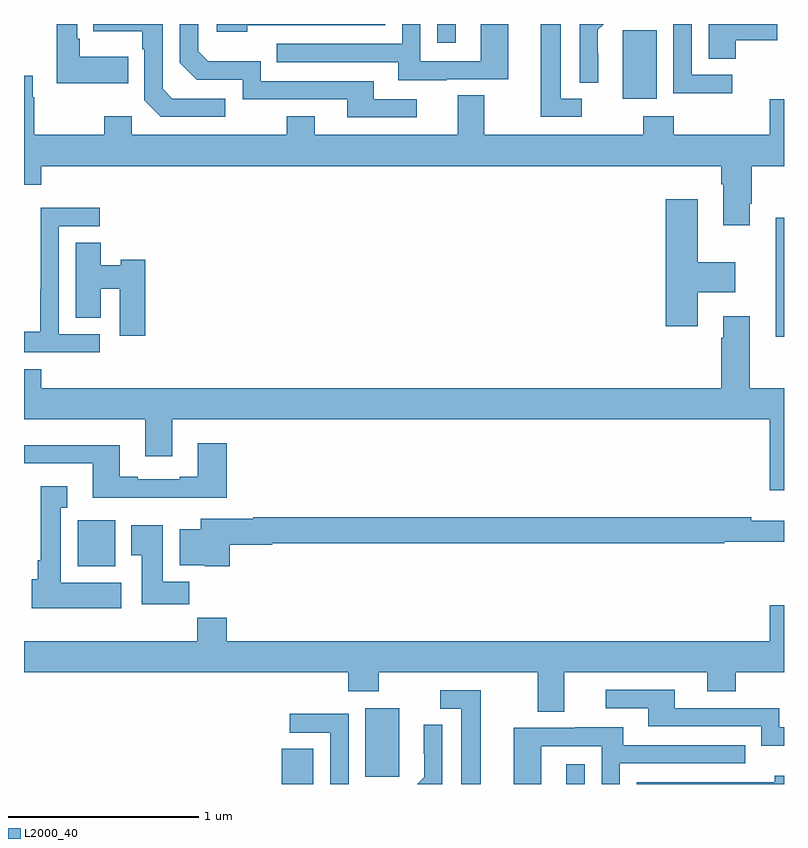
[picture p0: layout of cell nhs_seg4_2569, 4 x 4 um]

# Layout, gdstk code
import gdstk
lib = gdstk.Library(unit=1e-6, precision=1e-09)
def R(c, l, rs):  # rectangles x0, y0, x1, y1
    for r in rs: c.add(gdstk.rectangle(r[:2], r[2:], *l))
def P(c, l, *ps):  # polygons
    for p in ps: c.add(gdstk.Polygon(p, *l))
L2000_40 = (2000, 40)

nhs_seg4_2569 = lib.new_cell('nhs_seg4_2569')
R(nhs_seg4_2569, L2000_40, [(246.356,794.9,246.523,795.086), (247.853,794.9,247.95,795.004), (246.797,794.937,246.976,795.298), (245.282,796.046,245.479,796.288), (248.957,797.253,249,797.881), (248.15,798.506,248.329,798.867), (247.176,798.801,247.273,798.9)])
P(nhs_seg4_2569, L2000_40, [(248.728,798.633),(248.514,798.633),(248.514,798.9),(248.418,798.9),(248.418,798.535),(248.728,798.535)],
  [(248.022,798.746),(248.021,798.746),(248.021,798.869),(248.052,798.9),(247.926,798.9),(247.926,798.592),(248.022,798.592)],
  [(246.176,798.894),(246.9,798.894),(246.9,798.9),(246.015,798.9),(246.015,798.86),(246.176,798.86)],
  [(246.058,798.507),(245.781,798.507),(245.73,798.558),(245.73,798.9),(245.365,798.9),(245.365,798.863),(245.622,798.863),(245.622,798.767),(245.634,798.767),(245.634,798.498),(245.721,798.411),(246.058,798.411)],
  [(247.066,798.504),(246.841,798.504),(246.841,798.6),(246.246,798.6),(246.246,798.703),(245.969,798.703),(245.916,798.756),(245.916,798.9),(245.82,798.9),(245.82,798.696),(245.91,798.606),(246.15,798.606),(246.15,798.504),(246.701,798.504),(246.701,798.408),(247.066,798.408)],
  [(245.549,798.727),(245.293,798.727),(245.293,798.823),(245.28,798.823),(245.28,798.9),(245.172,798.9),(245.172,798.587),(245.549,798.587)],
  [(248.747,798.814),(248.965,798.814),(248.965,798.9),(248.603,798.9),(248.603,798.718),(248.747,798.718)],
  [(247.936,798.507),(247.825,798.507),(247.825,798.9),(247.721,798.9),(247.721,798.411),(247.936,798.411)],
  [(247.225,798.609),(247.549,798.609),(247.549,798.9),(247.404,798.9),(247.404,798.705),(247.086,798.705),(247.086,798.9),(246.99,798.9),(246.99,798.795),(246.331,798.795),(246.331,798.699),(246.971,798.699),(246.971,798.605),(247.225,798.605)],
  [(248.821,797.953),(248.829,797.953),(248.829,798.152),(249,798.152),(249,798.505),(248.924,798.505),(248.924,798.316),(248.42,798.316),(248.42,798.415),(248.26,798.415),(248.26,798.316),(247.423,798.316),(247.423,798.524),(247.283,798.524),(247.283,798.316),(246.529,798.316),(246.529,798.415),(246.382,798.415),(246.382,798.316),(245.568,798.316),(245.568,798.415),(245.422,798.415),(245.422,798.316),(245.055,798.316),(245.055,798.515),(245.047,798.515),(245.047,798.628),(245,798.628),(245,798.053),(245.09,798.053),(245.09,798.152),(248.669,798.152),(248.669,798.056),(248.681,798.056),(248.681,797.841),(248.821,797.841)],
  [(248.545,797.489),(248.743,797.489),(248.743,797.647),(248.545,797.647),(248.545,797.977),(248.378,797.977),(248.378,797.31),(248.545,797.31)],
  [(245.398,797.268),(245.184,797.268),(245.184,797.835),(245.398,797.835),(245.398,797.934),(245.088,797.934),(245.088,797.504),(245.086,797.504),(245.086,797.281),(245,797.281),(245,797.172),(245.398,797.172)],
  [(245.639,797.66),(245.508,797.66),(245.508,797.629),(245.404,797.629),(245.404,797.75),(245.273,797.75),(245.273,797.353),(245.404,797.353),(245.404,797.507),(245.504,797.507),(245.504,797.259),(245.639,797.259)],
  [(249,796.984),(248.821,796.984),(248.821,797.362),(248.681,797.362),(248.681,797.249),(248.669,797.249),(248.669,796.984),(245.09,796.984),(245.09,797.083),(245,797.083),(245,796.82),(245.639,796.82),(245.639,796.626),(245.779,796.626),(245.779,796.82),(248.924,796.82),(248.924,796.446),(249,796.446)],
  [(246.068,796.693),(245.915,796.693),(245.915,796.516),(245.819,796.516),(245.819,796.503),(245.599,796.503),(245.599,796.516),(245.503,796.516),(245.503,796.684),(245,796.684),(245,796.587),(245.363,796.587),(245.363,796.406),(246.068,796.406)],
  [(245.512,795.958),(245.194,795.958),(245.194,796.355),(245.227,796.355),(245.227,796.468),(245.087,796.468),(245.087,796.078),(245.072,796.078),(245.072,795.978),(245.042,795.978),(245.042,795.824),(245.512,795.824)],
  [(246.083,796.16),(246.306,796.16),(246.306,796.168),(248.686,796.168),(248.686,796.176),(249,796.176),(249,796.285),(248.828,796.285),(248.828,796.304),(246.206,796.304),(246.206,796.297),(245.93,796.297),(245.93,796.24),(245.819,796.24),(245.819,796.052),(245.952,796.052),(245.952,796.046),(246.083,796.046)],
  [(245.87,795.964),(245.731,795.964),(245.731,796.261),(245.564,796.261),(245.564,796.105),(245.621,796.105),(245.621,795.846),(245.87,795.846)],
  [(247.843,795.488),(248.597,795.488),(248.597,795.389),(248.745,795.389),(248.745,795.488),(249,795.488),(249,795.841),(248.924,795.841),(248.924,795.652),(246.068,795.652),(246.068,795.776),(245.911,795.776),(245.911,795.652),(245,795.652),(245,795.488),(246.707,795.488),(246.707,795.389),(246.867,795.389),(246.867,795.488),(247.703,795.488),(247.703,795.28),(247.843,795.28)],
  [(249,795.198),(248.976,795.198),(248.976,795.3),(248.425,795.3),(248.425,795.396),(248.061,795.396),(248.061,795.3),(248.285,795.3),(248.285,795.204),(248.88,795.204),(248.88,795.101),(249,795.101)],
  [(247.405,795.393),(247.191,795.393),(247.191,795.297),(247.301,795.297),(247.301,794.9),(247.405,794.9)],
  [(246.708,795.27),(246.399,795.27),(246.399,795.171),(246.612,795.171),(246.612,794.9),(246.708,794.9)],
  [(247.2,795.212),(247.104,795.212),(247.104,795.058),(247.106,795.058),(247.106,794.936),(247.07,794.9),(247.2,794.9)],
  [(247.722,795.099),(248.04,795.099),(248.04,794.9),(248.136,794.9),(248.136,795.009),(248.795,795.009),(248.795,795.105),(248.155,795.105),(248.155,795.199),(247.901,795.199),(247.901,795.195),(247.577,795.195),(247.577,794.9),(247.722,794.9)],
  [(249,794.944),(248.951,794.944),(248.951,794.91),(248.226,794.91),(248.226,794.9),(249,794.9)])

lib.write_gds('nhs_seg4_2569.gds')
